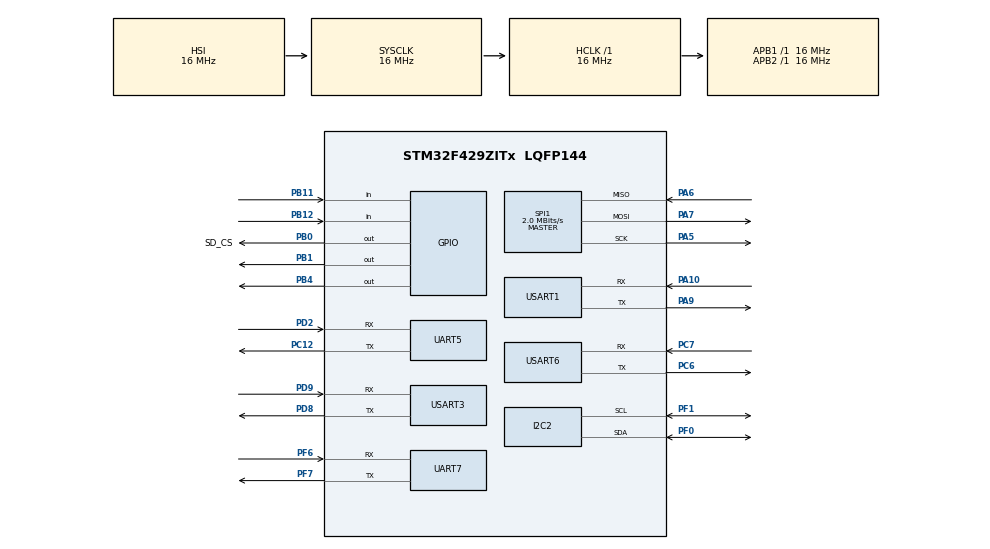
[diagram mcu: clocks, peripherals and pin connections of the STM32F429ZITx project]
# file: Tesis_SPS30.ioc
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FATFS._FS_TINY=1
FATFS._USE_LFN=1
Mcu.Family=STM32F4
Mcu.Name=STM32F429ZITx
Mcu.Package=LQFP144
NVIC.PriorityGroup=NVIC_PRIORITYGROUP_4
PA10.GPIO_PuPd=GPIO_PULLUP
PA10.Mode=Asynchronous
PA10.Signal=USART1_RX
PA13.Mode=Serial_Wire
PA13.Signal=SYS_JTMS-SWDIO
PA14.Mode=Serial_Wire
PA14.Signal=SYS_JTCK-SWCLK
PA5.Mode=Full_Duplex_Master
PA5.Signal=SPI1_SCK
PA6.Mode=Full_Duplex_Master
PA6.Signal=SPI1_MISO
PA7.Mode=Full_Duplex_Master
PA7.Signal=SPI1_MOSI
PA9.Mode=Asynchronous
PA9.Signal=USART1_TX
PB0.GPIO_Label=SD_CS
PB0.Signal=GPIO_Output
PB1.PinState=GPIO_PIN_SET
PB1.Signal=GPIO_Output
PB11.GPIO_PuPd=GPIO_PULLUP
PB11.Signal=GPIO_Input
PB12.GPIO_PuPd=GPIO_PULLUP
PB12.Signal=GPIO_Input
PB4.PinState=GPIO_PIN_SET
PB4.Signal=GPIO_Output
PC12.Mode=Asynchronous
PC12.Signal=UART5_TX
PC6.Mode=Asynchronous
PC6.Signal=USART6_TX
PC7.Mode=Asynchronous
PC7.Signal=USART6_RX
PD2.GPIO_PuPd=GPIO_PULLUP
PD2.Mode=Asynchronous
PD2.Signal=UART5_RX
PD8.Mode=Asynchronous
PD8.Signal=USART3_TX
PD9.Mode=Asynchronous
PD9.Signal=USART3_RX
PF0.Mode=I2C
PF0.Signal=I2C2_SDA
PF1.Mode=I2C
PF1.Signal=I2C2_SCL
PF6.GPIO_PuPd=GPIO_PULLUP
PF6.Mode=Asynchronous
PF6.Signal=UART7_RX
PF7.GPIO_PuPd=GPIO_NOPULL
PF7.Mode=Asynchronous
PF7.Signal=UART7_TX
ProjectManager.HeapSize=0x200
ProjectManager.StackSize=0x400
ProjectManager.TargetToolchain=STM32CubeIDE
RCC.AHBFreq_Value=16000000
RCC.APB1Freq_Value=16000000
RCC.APB2Freq_Value=16000000
RCC.CortexFreq_Value=16000000
RCC.HSE_VALUE=25000000
RCC.HSI_VALUE=16000000
RCC.LSE_VALUE=32768
RCC.SYSCLKFreq_VALUE=16000000
RCC.VCOOutputFreq_Value=192000000
SPI1.BaudRatePrescaler=SPI_BAUDRATEPRESCALER_8
SPI1.CalculateBaudRate=2.0 MBits/s
SPI1.Direction=SPI_DIRECTION_2LINES
SPI1.Mode=SPI_MODE_MASTER
SPI1.VirtualType=VM_MASTER
UART5.VirtualMode=Asynchronous
UART7.VirtualMode=Asynchronous
USART1.VirtualMode=VM_ASYNC
USART3.VirtualMode=VM_ASYNC
USART6.VirtualMode=VM_ASYNC
VP_FATFS_VS_Generic.Mode=User_defined
VP_RTC_VS_RTC_Activate.Mode=RTC_Enabled
VP_RTC_VS_RTC_Calendar.Mode=RTC_Calendar
board=custom

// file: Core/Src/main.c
/* USER CODE BEGIN Header */
/**
 ******************************************************************************
 * @file           : main.c
 * @brief          : Main program body
 ******************************************************************************
 * @attention
 *
 * Copyright (c) 2024 STMicroelectronics.
 * All rights reserved.
 *
 * This software is licensed under terms that can be found in the LICENSE file
 * in the root directory of this software component.
 * If no LICENSE file comes with this software, it is provided AS-IS.
 *
 ******************************************************************************
 */
/* USER CODE END Header */
#include <sensor.h>
#include "main.h"
#include "fatfs.h"
#include "i2c.h"
#include "rtc.h"
#include "spi.h"
#include "usart.h"
#include "gpio.h"

/* USER CODE BEGIN Includes */
#include <stdio.h>  // Añade esto para sprintf
#include <string.h> // Añade esto para strlen
#include "config_global.h"
#include "sps30_multi.h"
#include "sps30_comm.h"
#include "uart.h"
#include "proceso_observador.h"
#include "data_logger.h"
#include "time_rtc.h"
#include "rtc_ds3231_for_stm32_hal.h"
#include "fatfs_sd.h"
#include "microSD.h"
#include "mp_sensors_info.h"
#include "DHT22.h"
#include "observador_MEF.h"

#include "sistema_init.h"

#include "test_format_csv.h"
/* USER CODE END Includes */

/* USER CODE BEGIN PD */

// #define UART_BUFFER_SIZE 64

/* USER CODE END PD */

/* USER CODE BEGIN PV */

// Declaración del objeto SPS30

// extern UART_HandleTypeDef *uart_debug;

// extern void test_format_csv_line(void);

/* USER CODE END PV */

void SystemClock_Config(void);

int main(void) {

    /* MCU Configuration--------------------------------------------------------*/

    /* Reset of all peripherals, Initializes the Flash interface and the Systick. */
    HAL_Init();

    /* USER CODE BEGIN Init */

    sensors_init_all();

    // SPS30_Init(&huart5);

    /* USER CODE END Init */

    /* Configure the system clock */
    SystemClock_Config();

    /* USER CODE BEGIN SysInit */

    observador_MEF_init();

    /* USER CODE END SysInit */

    /* Initialize all configured peripherals */
    MX_GPIO_Init();
    MX_RTC_Init();
    MX_UART5_Init();
    MX_USART3_UART_Init();
    MX_UART7_Init();
    MX_USART6_UART_Init();
    MX_USART1_UART_Init();
    MX_I2C2_Init();
    MX_SPI1_Init();
    MX_FATFS_Init();
    /* USER CODE BEGIN 2 */

    uart_debug = &huart3;

    /* Initialization welcome message */
    MSG_BANNER_PM25_HEADER();

    bool sistema_ok = sistema_verificar_componentes();

    if (!sistema_ok) {
        MSG_COMPONENTES_ERROR();
    } else {
        MSG_COMPONENTES_OK();
    }

    MicroSD * sd = microSD_create(&huart3, "initlog.txt", "/");
    MSG_SD_INICIANDO_1A();

    if (sd == NULL) {
        Error_Handler();
    }

    MSG_SD_FINAL_4();
    microSD_setDirectory(sd, "/");

    MSG_SD_INICIANDO_3();
    if (!data_logger_init()) {
        MSG_SD_ERROR_INIT();
    }

    HAL_Delay(200);

    rtc_auto_init(); // Detecta y configura el RTC correcto
    RTC_ReceiveTimeFromTerminal(&huart3);

    MSG_SENSORES_INICIALIZANDO();
    inicializar_sensores_sps30();
    mp_sensors_info_init(); // ← Aquí obtienes y guardas los seriales

    /* Buffer de Mensajes */

    /* USER CODE END 2 */

    /* Infinite loop */
    /* USER CODE BEGIN WHILE */

    observador_MEF_init();

    while (1) {

        observador_MEF_actualizar();

        /* USER CODE END WHILE */

        /* USER CODE BEGIN 3 */

        // HAL_Delay(5000); // Espera 10 segundos antes de la próxima lectura
    }

    /* USER CODE END 3 */
}

void SystemClock_Config(void) {
    RCC_OscInitTypeDef RCC_OscInitStruct = {0};
    RCC_ClkInitTypeDef RCC_ClkInitStruct = {0};

    /** Configure the main internal regulator output voltage
     */
    __HAL_RCC_PWR_CLK_ENABLE();
    __HAL_PWR_VOLTAGESCALING_CONFIG(PWR_REGULATOR_VOLTAGE_SCALE3);

    /** Initializes the RCC Oscillators according to the specified parameters
     * in the RCC_OscInitTypeDef structure.
     */
    RCC_OscInitStruct.OscillatorType = RCC_OSCILLATORTYPE_HSI | RCC_OSCILLATORTYPE_LSI;
    RCC_OscInitStruct.HSIState = RCC_HSI_ON;
    RCC_OscInitStruct.HSICalibrationValue = RCC_HSICALIBRATION_DEFAULT;
    RCC_OscInitStruct.LSIState = RCC_LSI_ON;
    RCC_OscInitStruct.PLL.PLLState = RCC_PLL_NONE;
    if (HAL_RCC_OscConfig(&RCC_OscInitStruct) != HAL_OK) {
        Error_Handler();
    }

    /** Initializes the CPU, AHB and APB buses clocks
     */
    RCC_ClkInitStruct.ClockType =
        RCC_CLOCKTYPE_HCLK | RCC_CLOCKTYPE_SYSCLK | RCC_CLOCKTYPE_PCLK1 | RCC_CLOCKTYPE_PCLK2;
    RCC_ClkInitStruct.SYSCLKSource = RCC_SYSCLKSOURCE_HSI;
    RCC_ClkInitStruct.AHBCLKDivider = RCC_SYSCLK_DIV1;
    RCC_ClkInitStruct.APB1CLKDivider = RCC_HCLK_DIV1;
    RCC_ClkInitStruct.APB2CLKDivider = RCC_HCLK_DIV1;

    if (HAL_RCC_ClockConfig(&RCC_ClkInitStruct, FLASH_LATENCY_0) != HAL_OK) {
        Error_Handler();
    }
}

void Error_Handler(void) {
    __disable_irq();
    while (1) {
    }
}
